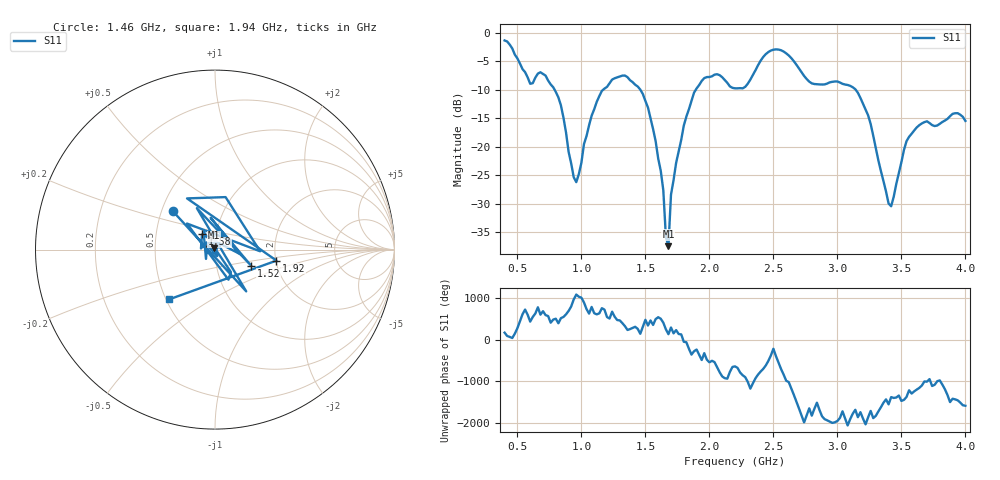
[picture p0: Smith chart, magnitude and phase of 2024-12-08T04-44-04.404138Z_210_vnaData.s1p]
!Created with skrf (http://scikit-rf.org).
# Hz S RI R 50.0
!freq ReS11 ImS11
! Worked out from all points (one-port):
!   181 points, 400 MHz to 4 GHz, reference 50 ohm
!   lowest |S11| = -37.5 dB at 1.68 GHz (marker M1), VSWR 1.03, Z = 49.2 + j1.03 ohm
!   |S11| at or under -10 dB: 790.8 MHz to 1.17 GHz (378.9 MHz wide, 38.7 % of centre); 1.461 GHz to 1.894 GHz (432.7 MHz wide, 25.8 % of centre); 3.143 GHz to end of sweep
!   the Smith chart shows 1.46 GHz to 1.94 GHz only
!   S11 on the Smith chart (normalised r, x): 1.46 GHz: 0.57, +0.27; 1.52 GHz: 1.47, -0.28; 1.58 GHz: 0.85, +0.15; 1.92 GHz: 2.02, -0.28; 1.94 GHz: 0.52, -0.34
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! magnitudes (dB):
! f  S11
! 400 MHz  -1.3
! 600 MHz  -8.9
! 720 MHz  -7.5
! 860 MHz  -14.9
! 960 MHz  -26.2
! 1.12 GHz  -12.1
! 1.3 GHz  -7.7
! 1.46 GHz  -10.0
! 1.52 GHz  -13.1
! 1.58 GHz  -19.0
! 1.64 GHz  -27.7
! 1.66 GHz  -35.9
! 1.68 GHz  -37.5
! 1.7 GHz  -28.4
! 1.76 GHz  -20.8
! 1.92 GHz  -9.2
! 1.94 GHz  -8.4
! 2.06 GHz  -7.3
! 2.2 GHz  -9.7
! 2.48 GHz  -3.1
! 2.66 GHz  -5.0
! 2.8 GHz  -8.9
! 3.1 GHz  -9.3
! 3.24 GHz  -14.5
! 3.42 GHz  -30.5
! 3.56 GHz  -18.3
! 3.9 GHz  -14.2
! 4 GHz  -15.5
